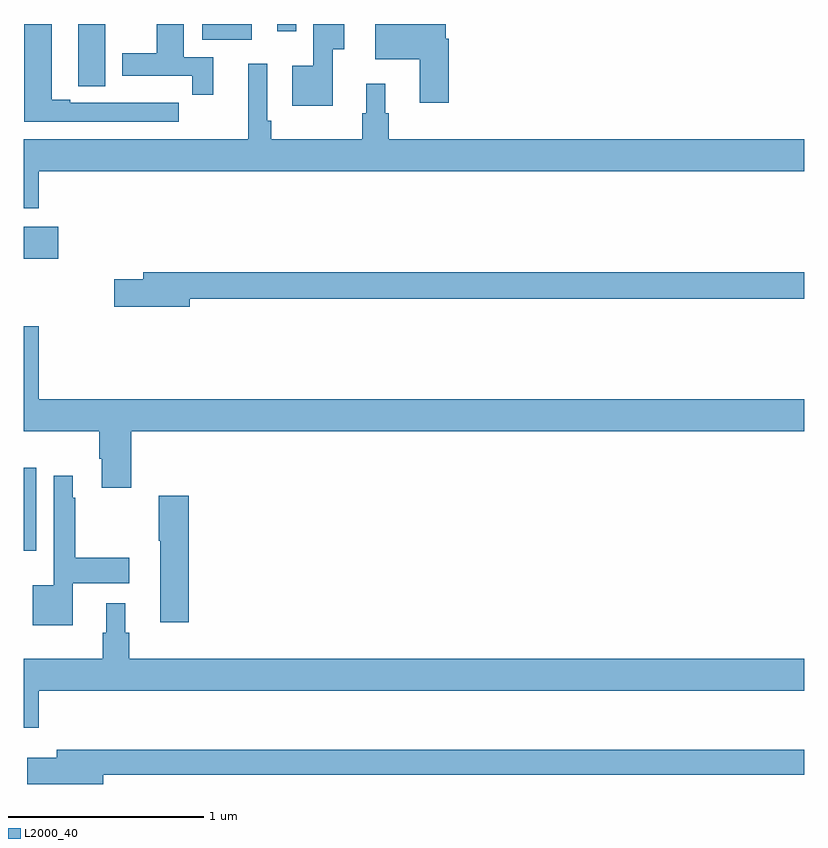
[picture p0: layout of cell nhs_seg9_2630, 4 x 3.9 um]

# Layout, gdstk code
import gdstk
lib = gdstk.Library(unit=1e-6, precision=1e-09)
def R(c, l, rs):  # rectangles x0, y0, x1, y1
    for r in rs: c.add(gdstk.rectangle(r[:2], r[2:], *l))
def P(c, l, *ps):  # polygons
    for p in ps: c.add(gdstk.Polygon(p, *l))
L2000_40 = (2000, 40)

nhs_seg9_2630 = lib.new_cell('nhs_seg9_2630')
R(nhs_seg9_2630, L2000_40, [(261,1203.798,261.063,1204.224), (261,1205.296,261.175,1205.461), (261.914,1206.419,262.168,1206.5), (262.298,1206.462,262.395,1206.5)])
P(nhs_seg9_2630, L2000_40, [(263.177,1206.424),(263.164,1206.424),(263.164,1206.5),(262.802,1206.5),(262.802,1206.32),(263.03,1206.32),(263.03,1206.096),(263.177,1206.096)],
  [(261.793,1206.096),(261.68,1206.096),(261.68,1206.097),(261.514,1206.097),(261.514,1206.096),(261.238,1206.096),(261.238,1206.111),(261.142,1206.111),(261.142,1206.5),(261.002,1206.5),(261.002,1206),(261.793,1206)],
  [(261.418,1206.5),(261.278,1206.5),(261.278,1206.289),(261.279,1206.289),(261.279,1206.181),(261.418,1206.181)],
  [(261.971,1206.33),(261.82,1206.33),(261.82,1206.5),(261.68,1206.5),(261.68,1206.351),(261.503,1206.351),(261.503,1206.234),(261.862,1206.234),(261.862,1206.138),(261.971,1206.138)],
  [(262.584,1206.371),(262.642,1206.371),(262.642,1206.5),(262.483,1206.5),(262.483,1206.286),(262.376,1206.286),(262.376,1206.08),(262.584,1206.08)],
  [(261.076,1205.744),(265,1205.744),(265,1205.908),(262.871,1205.908),(262.871,1206.042),(262.852,1206.042),(262.852,1206.193),(262.754,1206.193),(262.754,1206.042),(262.735,1206.042),(262.735,1205.908),(262.268,1205.908),(262.268,1206.004),(262.248,1206.004),(262.248,1206.295),(262.151,1206.295),(262.151,1205.908),(261,1205.908),(261,1205.556),(261.076,1205.556)],
  [(261.85,1205.092),(265,1205.092),(265,1205.228),(261.611,1205.228),(261.611,1205.192),(261.462,1205.192),(261.462,1205.05),(261.85,1205.05)],
  [(261.551,1204.412),(265,1204.412),(265,1204.576),(261.076,1204.576),(261.076,1204.951),(261,1204.951),(261,1204.412),(261.386,1204.412),(261.386,1204.27),(261.398,1204.27),(261.398,1204.122),(261.551,1204.122)],
  [(261.25,1203.632),(261.541,1203.632),(261.541,1203.762),(261.262,1203.762),(261.262,1204.07),(261.25,1204.07),(261.25,1204.183),(261.153,1204.183),(261.153,1203.622),(261.044,1203.622),(261.044,1203.416),(261.25,1203.416)],
  [(261.845,1204.081),(261.691,1204.081),(261.691,1203.85),(261.698,1203.85),(261.698,1203.432),(261.845,1203.432)],
  [(261.076,1203.08),(265,1203.08),(265,1203.244),(261.539,1203.244),(261.539,1203.378),(261.52,1203.378),(261.52,1203.529),(261.422,1203.529),(261.422,1203.378),(261.403,1203.378),(261.403,1203.244),(261,1203.244),(261,1202.892),(261.076,1202.892)],
  [(261.406,1202.65),(265,1202.65),(265,1202.779),(261.167,1202.779),(261.167,1202.737),(261.018,1202.737),(261.018,1202.603),(261.406,1202.603)])

lib.write_gds('nhs_seg9_2630.gds')
